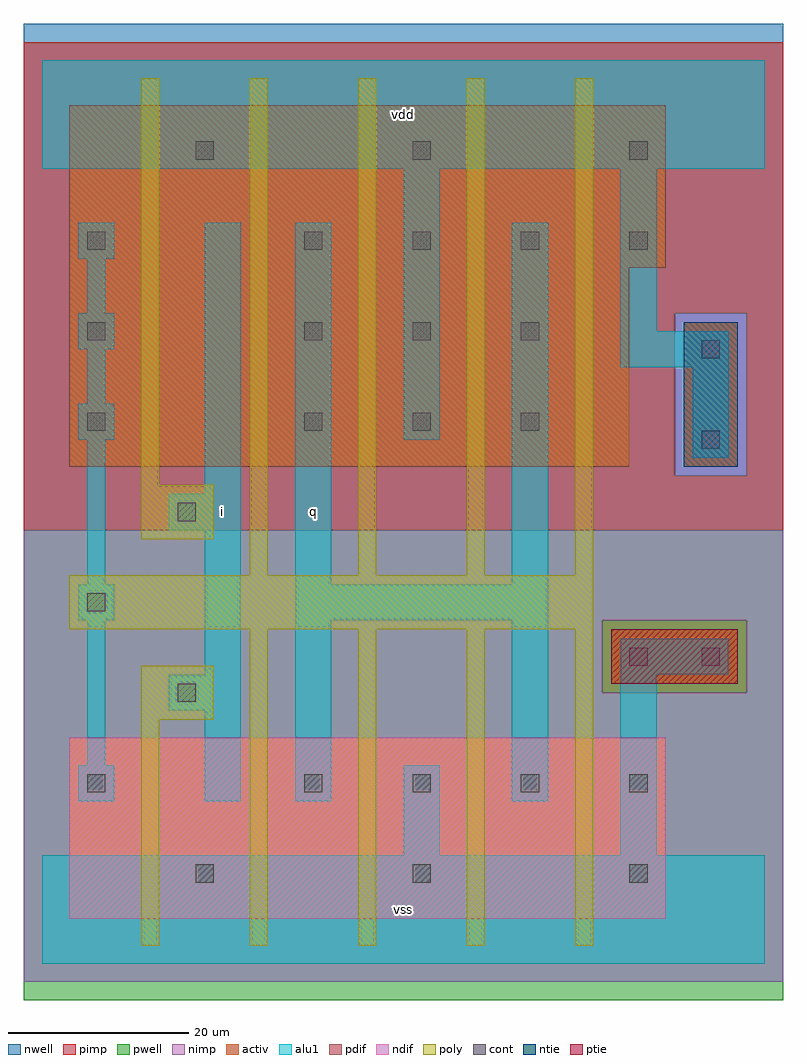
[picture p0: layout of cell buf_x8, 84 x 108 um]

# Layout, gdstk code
import gdstk
lib = gdstk.Library(unit=1e-6, precision=1e-09)
def R(c, l, rs):  # rectangles x0, y0, x1, y1
    for r in rs: c.add(gdstk.rectangle(r[:2], r[2:], *l))
def A(c, l, x, y, w, h, nx, ny, dx, dy):  # array of equal rectangles
    R(c, l, [(x+i*dx, y+j*dy, x+i*dx+w, y+j*dy+h) for i in range(nx) for j in range(ny)])
ndif = (3, 0)
pdif = (4, 0)
ntie = (5, 0)
ptie = (6, 0)
cont = (25, 0)
pwell = (41, 0)
nwell = (42, 0)
activ = (43, 0)
pimp = (44, 0)
nimp = (45, 0)
poly = (46, 0)
alu1 = (49, 0)

buf_x8 = lib.new_cell('buf_x8')
R(buf_x8, ndif, [(3,5,69,25)])
R(buf_x8, pdif, [(3,55,65,77), (3,77,69,95)])
R(buf_x8, ntie, [(71,55,77,71)])
R(buf_x8, ptie, [(63,31,77,37)])
A(buf_x8, cont, 17, 9, 2, 2, 3, 2, 24, 80)
A(buf_x8, cont, 5, 19, 2, 2, 1, 3, 0, 20)
A(buf_x8, cont, 29, 19, 2, 2, 4, 2, 12, 60)
A(buf_x8, cont, 29, 59, 2, 2, 3, 2, 12, 10)
R(buf_x8, cont, [(15,29,17,31), (65,33,67,35), (73,33,75,35), (15,49,17,51), (73,57,75,59), (73,67,75,69), (5,69,7,71), (5,79,7,81)])
R(buf_x8, pwell, [(-2,-4,82,48)])
R(buf_x8, nwell, [(-2,48,82,104)])
R(buf_x8, activ, [(3,5,69,25), (63,31,77,37), (3,55,65,77), (71,55,77,71), (3,77,69,95)])
R(buf_x8, pimp, [(62,30,78,38), (-2,48,82,54), (-2,54,70,72), (78,54,82,72), (-2,72,82,102)])
R(buf_x8, nimp, [(-2,-2,82,30), (-2,30,62,38), (78,30,82,38), (-2,38,82,48), (70,54,78,72)])
A(buf_x8, poly, 23, 2, 2, 35, 4, 1, 12, 0)
A(buf_x8, poly, 23, 43, 2, 55, 4, 1, 12, 0)
R(buf_x8, poly, [(11,2,13,27), (11,27,19,33), (3,37,61,43), (11,47,19,53), (11,53,13,98)])
A(buf_x8, alu1, 4, 18, 4, 4, 1, 3, 0, 20)
R(buf_x8, alu1, [(0,0,80,12), (40,12,44,22), (64,12,68,32), (18,18,22,28), (28,18,32,38), (52,18,56,38), (5,22,7,38), (14,28,22,32), (18,32,22,48), (64,32,76,36), (28,38,56,42), (5,42,7,58), (28,42,32,82), (52,42,56,82), (14,48,22,52), (18,52,22,82), (72,56,76,66), (40,58,44,88), (5,62,7,68), (64,66,76,70), (4,68,8,72), (64,70,68,88), (5,72,7,78), (4,78,8,82), (0,88,80,100)])
buf_x8.add(gdstk.Label('q', (30,50), layer=49, texttype=0))
buf_x8.add(gdstk.Label('i', (20,50), layer=49, texttype=0))
buf_x8.add(gdstk.Label('vss', (40,6), layer=49, texttype=0))
buf_x8.add(gdstk.Label('vdd', (40,94), layer=49, texttype=0))

lib.write_gds('buf_x8.gds')
